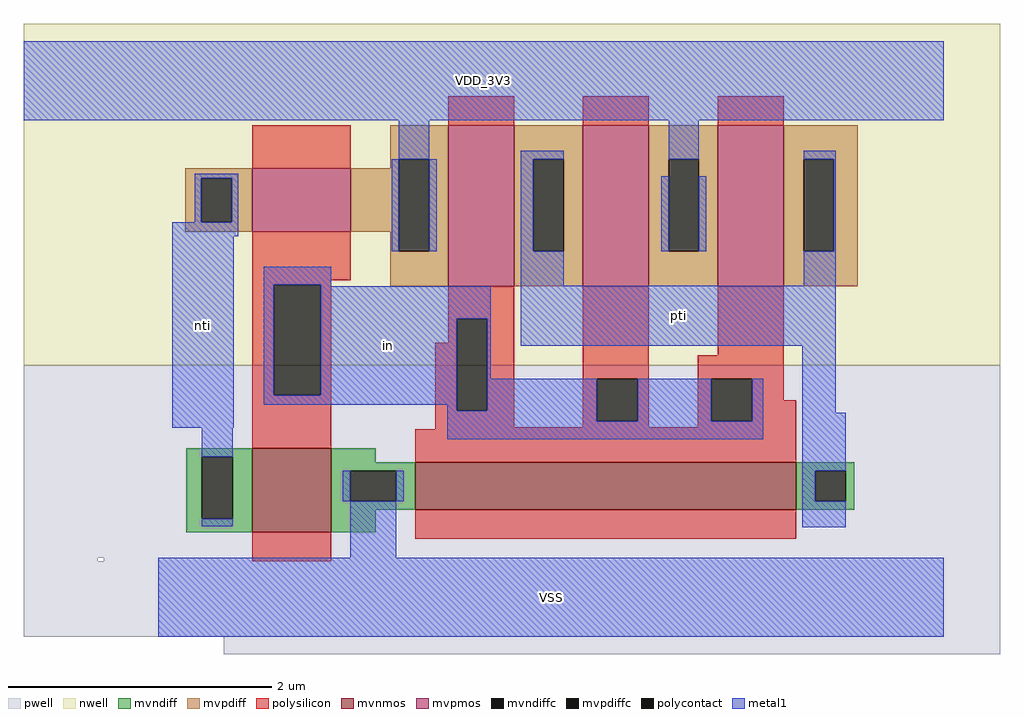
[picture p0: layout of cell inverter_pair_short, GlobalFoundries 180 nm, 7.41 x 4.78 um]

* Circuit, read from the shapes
.subckt inverter_pair_short in nti pti VSS VDD_3V3
XM1 VSS in nti VSUBS nfet_06v0 w=0.635u l=0.6u
XM2 pti in VSS VSUBS nfet_06v0 w=0.36u l=2.89u
XM3 VDD_3V3 in nti n1 pfet_06v0 w=0.48u l=0.75u
XM4 pti in VDD_3V3 n1 pfet_06v0 w=1.22u l=0.5u m=3
.ends

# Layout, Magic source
magic
tech gf180mcuD
magscale 1 10
<< nwell >>
rect -556 296 925 814
<< pwell >>
rect -556 4 925 296
rect -556 -1 -444 4
rect -435 -1 925 4
rect -556 -116 925 -1
rect -253 -142 925 -116
<< mvnmos >>
rect -210 43 -90 170
rect 38 77 616 149
<< mvpmos >>
rect -210 499 -60 595
rect 88 416 188 660
rect 292 416 392 660
rect 497 416 597 660
<< mvndiff >>
rect -310 157 -210 170
rect -310 63 -286 157
rect -239 63 -210 157
rect -310 43 -210 63
rect -90 149 -22 170
rect -90 136 38 149
rect -90 90 -61 136
rect 9 90 38 136
rect -90 77 38 90
rect 616 136 704 149
rect 616 90 645 136
rect 691 90 704 136
rect 616 77 704 90
rect -90 43 -22 77
<< mvpdiff >>
rect 0 609 88 660
rect 0 595 13 609
rect -311 580 -210 595
rect -311 513 -287 580
rect -241 513 -210 580
rect -311 499 -210 513
rect -60 499 13 595
rect 0 469 13 499
rect 59 469 88 609
rect 0 416 88 469
rect 188 609 292 660
rect 188 469 217 609
rect 263 469 292 609
rect 188 416 292 469
rect 392 609 497 660
rect 392 469 422 609
rect 468 469 497 609
rect 392 416 497 469
rect 597 609 709 660
rect 597 469 627 609
rect 673 469 709 609
rect 597 416 709 469
<< mvndiffc >>
rect -286 63 -239 157
rect -61 90 9 136
rect 645 90 691 136
<< mvpdiffc >>
rect -287 513 -241 580
rect 13 469 59 609
rect 217 469 263 609
rect 422 469 468 609
rect 627 469 673 609
<< polysilicon >>
rect 88 660 188 704
rect 292 660 392 704
rect 497 660 597 704
rect -210 595 -60 660
rect -210 425 -60 499
rect -210 418 -90 425
rect -210 251 -177 418
rect -106 251 -90 418
rect 88 367 188 416
rect 88 330 101 367
rect -210 170 -90 251
rect 68 227 101 330
rect 147 227 188 367
rect 68 202 188 227
rect 292 276 392 416
rect 497 311 597 416
rect 292 211 313 276
rect 375 211 392 276
rect 292 202 392 211
rect 466 276 597 311
rect 466 211 487 276
rect 549 243 597 276
rect 549 211 616 243
rect 466 202 616 211
rect 68 199 616 202
rect 38 149 616 199
rect -210 -1 -90 43
rect 38 33 616 77
<< polycontact >>
rect -177 251 -106 418
rect 101 227 147 367
rect 313 211 375 276
rect 487 211 549 276
<< metal1 >>
rect -556 668 840 788
rect 13 609 59 668
rect 198 609 263 622
rect -297 580 -231 587
rect -297 513 -287 580
rect -241 513 -231 580
rect -331 492 -231 513
rect -331 201 -238 492
rect 2 469 13 609
rect 59 469 70 609
rect 198 469 217 609
rect 422 609 468 668
rect 411 469 422 583
rect 627 609 676 622
rect 468 469 479 583
rect 673 469 676 609
rect -192 418 -90 446
rect -192 251 -177 418
rect -106 416 -90 418
rect 198 417 263 469
rect 627 417 676 469
rect -106 367 152 416
rect -106 251 101 367
rect -192 236 101 251
rect 86 227 101 236
rect 147 276 152 367
rect 198 326 676 417
rect 147 227 313 276
rect 86 211 313 227
rect 375 211 487 276
rect 549 211 566 276
rect -286 157 -239 201
rect 86 184 566 211
rect 625 224 676 326
rect 625 136 691 224
rect -72 90 -61 136
rect 9 90 20 136
rect 625 90 645 136
rect -286 52 -239 63
rect -61 4 9 90
rect 625 50 691 90
rect -352 -116 840 4
<< labels >>
rlabel metal1 -106 236 101 416 1 in
port 1 n signal bidirectional
rlabel metal1 -331 201 -238 513 1 nti
port 2 n signal bidirectional
rlabel metal1 198 326 676 417 1 pti
port 3 n signal bidirectional
rlabel metal1 -352 -116 840 4 1 VSS
port 4 n ground bidirectional
rlabel metal1 -556 668 840 788 1 VDD_3V3
port 5 n power bidirectional
<< end >>
